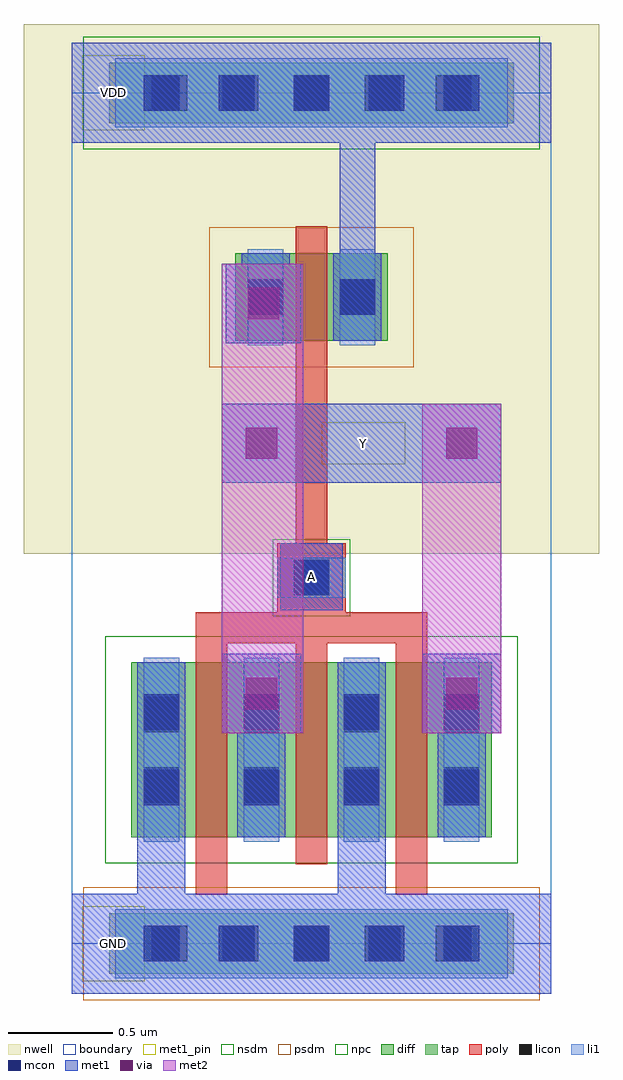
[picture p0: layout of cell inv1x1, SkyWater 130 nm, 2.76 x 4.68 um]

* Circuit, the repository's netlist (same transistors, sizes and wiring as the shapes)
** sch_path: /foss/designs/inv1x1.sch
.subckt inv1x1 A Y VDD GND
*.PININFO A:I Y:O VDD:B GND:B
XM1 Y A GND GND sky130_fd_pr__nfet_01v8 L=0.15 W=2.52 nf=3
XM2 Y A VDD VDD sky130_fd_pr__pfet_01v8 L=0.15 W=0.42 nf=1
.ends

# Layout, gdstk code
import gdstk
lib = gdstk.Library(unit=1e-6, precision=1e-09)
def R(c, l, rs):  # rectangles x0, y0, x1, y1
    for r in rs: c.add(gdstk.rectangle(r[:2], r[2:], *l))
def A(c, l, x, y, w, h, nx, ny, dx, dy):  # array of equal rectangles
    R(c, l, [(x+i*dx, y+j*dy, x+i*dx+w, y+j*dy+h) for i in range(nx) for j in range(ny)])
nwell = (64, 20)
diff = (65, 20)
tap = (65, 44)
poly = (66, 20)
licon = (66, 44)
li1 = (67, 20)
mcon = (67, 44)
met1_pin = (68, 16)
met1 = (68, 20)
via = (68, 44)
met2 = (69, 20)
nsdm = (93, 44)
psdm = (94, 20)
npc = (95, 20)
boundary = (235, 4)

sky130_fd_pr__pfet_01v8_ = lib.new_cell('sky130_fd_pr__pfet_01v8_YNU6YZ')
R(sky130_fd_pr__pfet_01v8_, nwell, [(-0.545,-0.52,0.545,0.52)])
R(sky130_fd_pr__pfet_01v8_, diff, [(-0.365,-0.21,0.365,0.21)])
R(sky130_fd_pr__pfet_01v8_, poly, [(-0.075,-0.34,0.075,0.34)])
R(sky130_fd_pr__pfet_01v8_, licon, [(-0.305,-0.085,-0.135,0.085), (0.135,-0.085,0.305,0.085)])
R(sky130_fd_pr__pfet_01v8_, li1, [(-0.305,-0.23,-0.135,0.23), (0.135,-0.23,0.305,0.23)])
R(sky130_fd_pr__pfet_01v8_, mcon, [(-0.305,-0.085,-0.135,0.085), (0.135,-0.085,0.305,0.085)])
R(sky130_fd_pr__pfet_01v8_, met1, [(-0.335,-0.21,-0.105,0.21), (0.105,-0.21,0.335,0.21)])
R(sky130_fd_pr__pfet_01v8_, psdm, [(-0.49,-0.335,0.49,0.335)])
sky130_fd_pr__pfet_01v8_.add(gdstk.Label('D', (-0.22,0), layer=67, texttype=5))
sky130_fd_pr__pfet_01v8_.add(gdstk.Label('S', (0.22,0), layer=67, texttype=5))

sky130_fd_pr__nfet_01v8_ = lib.new_cell('sky130_fd_pr__nfet_01v8_RPKUUV')
R(sky130_fd_pr__nfet_01v8_, diff, [(-0.865,-0.42,0.865,0.42)])
R(sky130_fd_pr__nfet_01v8_, poly, [(-0.555,-0.695,-0.405,0.55), (0.405,-0.695,0.555,0.55), (-0.075,-0.55,0.075,0.695)])
A(sky130_fd_pr__nfet_01v8_, licon, -0.805, -0.255, 0.17, 0.17, 4, 2, 0.48, 0.34)
A(sky130_fd_pr__nfet_01v8_, li1, -0.805, -0.44, 0.17, 0.88, 4, 1, 0.48, 0)
A(sky130_fd_pr__nfet_01v8_, mcon, -0.805, -0.265, 0.17, 0.17, 4, 2, 0.48, 0.36)
A(sky130_fd_pr__nfet_01v8_, met1, -0.835, -0.42, 0.23, 0.84, 4, 1, 0.48, 0)
R(sky130_fd_pr__nfet_01v8_, nsdm, [(-0.99,-0.545,0.99,0.545)])
sky130_fd_pr__nfet_01v8_.add(gdstk.Label('D0', (-0.72,0), layer=67, texttype=5))
sky130_fd_pr__nfet_01v8_.add(gdstk.Label('S1', (-0.24,0), layer=67, texttype=5))
sky130_fd_pr__nfet_01v8_.add(gdstk.Label('D2', (0.24,0), layer=67, texttype=5))
sky130_fd_pr__nfet_01v8_.add(gdstk.Label('S2', (0.72,0), layer=67, texttype=5))

inv1x1 = lib.new_cell('inv1x1')
R(inv1x1, nwell, [(-0.23,1.87,2.53,4.41)])
R(inv1x1, tap, [(0.18,-0.145,2.12,0.145), (0.18,3.935,2.12,4.225)])
R(inv1x1, poly, [(0.595,1.44,1.705,1.59), (0.985,1.59,1.315,1.92), (1.075,1.92,1.225,2.95)])
A(inv1x1, licon, 0.385, -0.085, 0.17, 0.17, 5, 2, 0.34, 4.08)
R(inv1x1, licon, [(1.065,1.67,1.235,1.84)])
R(inv1x1, li1, [(0.21,-0.165,2.09,0.165), (0.985,1.66,1.315,1.85), (0.21,3.915,2.09,4.245)])
A(inv1x1, mcon, 0.345, -0.085, 0.17, 0.17, 5, 2, 0.36, 4.08)
R(inv1x1, mcon, [(1.065,1.67,1.235,1.84)])
R(inv1x1, met1_pin, [(0.05,-0.18,0.35,0.18), (1,1.6,1.3,1.92), (1.2,2.3,1.6,2.5), (0.05,3.9,0.35,4.26)])
R(inv1x1, met1, [(0,-0.24,2.3,0.24), (0.315,0.24,0.545,0.6), (1.275,0.24,1.505,0.6), (0.72,1.01,1.1,1.39), (1.68,1.01,2.06,1.39), (1,1.6,1.3,1.92), (0.72,2.21,2.06,2.59), (0.74,2.88,1.1,3.26), (1.285,3.25,1.455,3.84), (0,3.84,2.3,4.32)])
R(inv1x1, via, [(0.835,1.125,0.985,1.275), (1.795,1.125,1.945,1.275), (0.835,2.325,0.985,2.475), (1.795,2.325,1.945,2.475), (0.845,2.995,0.995,3.145)])
R(inv1x1, met2, [(0.72,1.01,1.11,3.26), (1.68,1.01,2.06,2.59)])
R(inv1x1, nsdm, [(0.055,3.81,2.245,4.35)])
R(inv1x1, psdm, [(0.055,-0.27,2.245,0.27)])
R(inv1x1, npc, [(0.965,1.57,1.335,1.94)])
R(inv1x1, boundary, [(0,0,2.3,4.08)])
inv1x1.add(gdstk.Reference(sky130_fd_pr__pfet_01v8_, (1.15,3.1)))
inv1x1.add(gdstk.Reference(sky130_fd_pr__nfet_01v8_, (1.15,0.93)))
inv1x1.add(gdstk.Label('A', (1.15,1.76), layer=68, texttype=5))
inv1x1.add(gdstk.Label('Y', (1.4,2.4), layer=68, texttype=5))
inv1x1.add(gdstk.Label('VDD', (0.2,4.08), layer=68, texttype=5))
inv1x1.add(gdstk.Label('GND', (0.2,0), layer=68, texttype=5))

lib.write_gds('inv1x1.gds')
